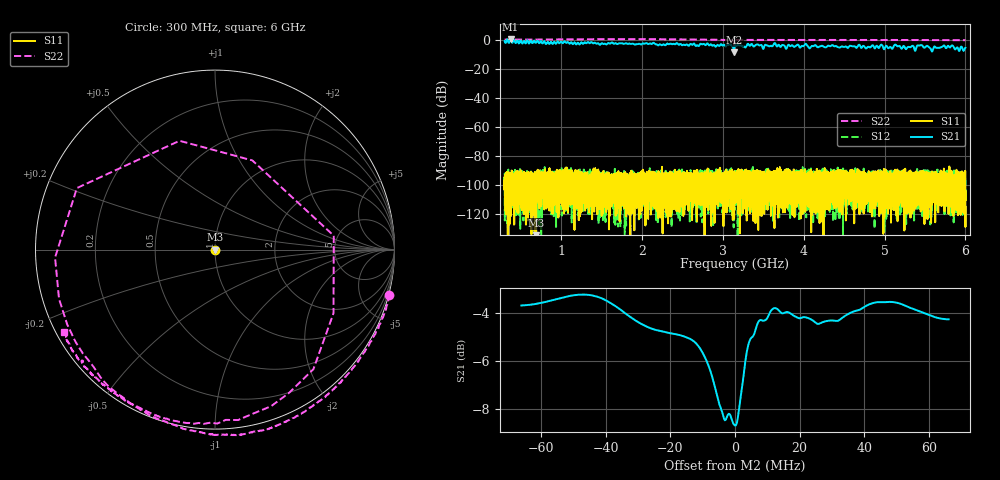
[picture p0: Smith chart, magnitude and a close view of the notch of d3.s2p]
!Agilent Technologies,N5230C,SG49000117,A.08.50.07
!Agilent N5230C: A.08.50.07
!Date: Sunday, March 17, 2024 00:52:32
!Correction: S11(Off)
!S21(Off)
!S12(Off)
!S22(Full 1 Port(2))
!S2P File: Measurements: S11, S21, S12, S22:
# Hz S  RI  R 50
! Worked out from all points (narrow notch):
!   20001 points, 300 MHz to 6 GHz, reference 50 ohm
!   highest |S21| = 0.34 dB at 373.8 MHz (marker M1); lowest = -8.7 dB at 3.139 GHz (marker M2)
!   notch at M2: 4.9 dB deep, 11.1 MHz wide at half that depth
!   lowest |S11| = -145.3 dB at 689.9 MHz (marker M3), VSWR 1.00, Z = 50 + j5.28e-06 ohm
!   |S11| at or under -10 dB: start of sweep to end of sweep
!   |S22| runs from -6.3 to 0.4 dB; largest |S21 - S12| = 1
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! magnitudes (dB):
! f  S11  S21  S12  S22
! 300 MHz  -98.9  -1.1  -99.7  0.0
! 373.8 MHz  -95.4  0.3  -94.9  0.1
! 689.9 MHz  -145.3  -2.0  -101.4  0.1
! 1.25 GHz  -95.2  -1.9  -111.6  0.2
! 2.2 GHz  -100.6  -3.9  -104.3  0.3
! 3.077 GHz  -105.7  -3.6  -96.3  -0.3
! 3.139 GHz  -100.0  -8.7  -103.3  -6.0
! 3.15 GHz  -104.3  -4.0  -97.0  -2.0
! 3.331 GHz  -98.0  -4.3  -99.4  -0.2
! 3.488 GHz  -102.9  -5.0  -94.9  -0.2
! 3.637 GHz  -104.2  -2.5  -105.7  -0.2
! 3.776 GHz  -93.3  -5.8  -103.6  -0.2
! 4.021 GHz  -106.7  -2.9  -99.1  -0.2
! 4.1 GHz  -93.9  -4.4  -95.8  -0.2
! 5.05 GHz  -105.6  -6.0  -96.3  -0.2
! 5.142 GHz  -95.5  -3.8  -97.6  -0.2
! 5.378 GHz  -101.6  -7.7  -93.3  -0.2
! 5.436 GHz  -99.8  -4.0  -108.2  -0.3
! 5.538 GHz  -105.6  -4.6  -99.9  -0.3
! 5.577 GHz  -97.3  -7.2  -93.8  -0.3
! 5.723 GHz  -102.3  -4.5  -99.7  -0.3
! 6 GHz  -114.9  -5.6  -108.8  -0.4
